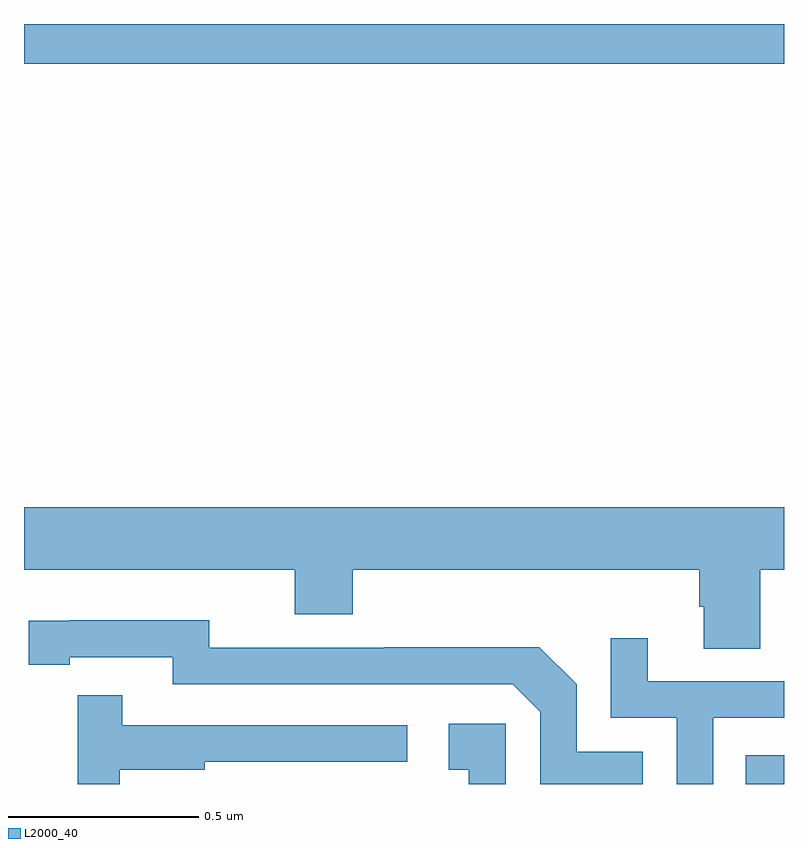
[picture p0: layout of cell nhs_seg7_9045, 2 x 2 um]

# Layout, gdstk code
import gdstk
lib = gdstk.Library(unit=1e-6, precision=1e-09)
def R(c, l, rs):  # rectangles x0, y0, x1, y1
    for r in rs: c.add(gdstk.rectangle(r[:2], r[2:], *l))
def P(c, l, *ps):  # polygons
    for p in ps: c.add(gdstk.Polygon(p, *l))
L2000_40 = (2000, 40)

nhs_seg7_9045 = lib.new_cell('nhs_seg7_9045')
R(nhs_seg7_9045, L2000_40, [(233.899,1052,234,1052.076), (232,1053.896,234,1054)])
P(nhs_seg7_9045, L2000_40, [(233.937,1052.564),(234,1052.564),(234,1052.728),(232,1052.728),(232,1052.564),(232.712,1052.564),(232.712,1052.447),(232.865,1052.447),(232.865,1052.564),(233.777,1052.564),(233.777,1052.466),(233.789,1052.466),(233.789,1052.356),(233.937,1052.356)],
  [(233.628,1052.085),(233.454,1052.085),(233.454,1052.262),(233.356,1052.36),(232.948,1052.36),(232.948,1052.358),(232.488,1052.358),(232.488,1052.431),(232.12,1052.431),(232.12,1052.43),(232.012,1052.43),(232.012,1052.314),(232.12,1052.314),(232.12,1052.334),(232.392,1052.334),(232.392,1052.262),(233.286,1052.262),(233.358,1052.19),(233.358,1052),(233.628,1052)],
  [(233.814,1052.175),(234,1052.175),(234,1052.271),(233.641,1052.271),(233.641,1052.383),(233.544,1052.383),(233.544,1052.175),(233.718,1052.175),(233.718,1052),(233.814,1052)],
  [(232.252,1052.038),(232.475,1052.038),(232.475,1052.058),(233.008,1052.058),(233.008,1052.154),(232.259,1052.154),(232.259,1052.233),(232.142,1052.233),(232.142,1052),(232.252,1052)],
  [(233.268,1052.158),(233.118,1052.158),(233.118,1052.037),(233.171,1052.037),(233.171,1052),(233.268,1052)])

lib.write_gds('nhs_seg7_9045.gds')
